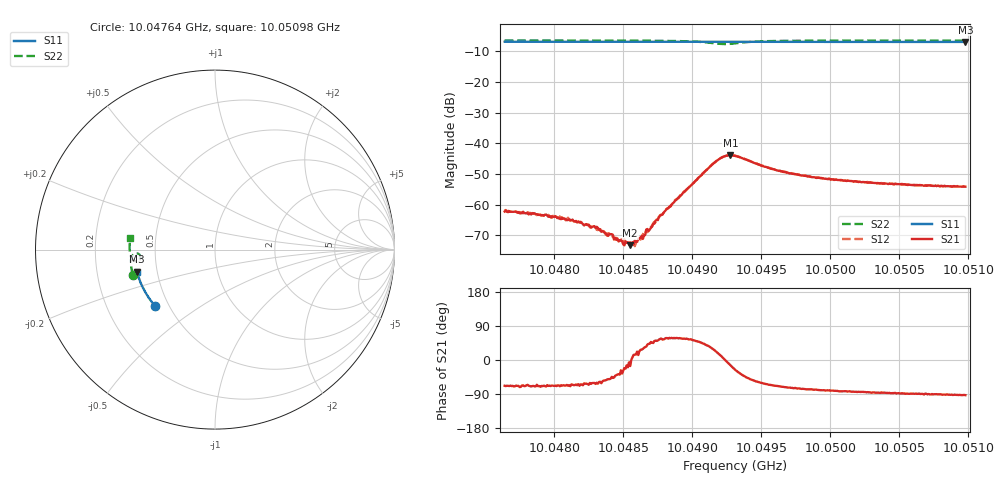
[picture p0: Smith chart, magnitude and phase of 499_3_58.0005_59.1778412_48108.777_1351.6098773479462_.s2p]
#  HZ  S  RI  R  50.00
! Rohde & Schwarz Vector Network Analyzer
! Rohde-Schwarz,ZNB20-2Port,1311601062101988,3.16
! Created: UTC 3/21/2024, 1:12:43 AM
! freq[Hz]  re:S11  im:S11  re:S21  im:S21  re:S12  im:S12  re:S22  im:S22
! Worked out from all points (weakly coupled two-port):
!   401 points, 10.04764 GHz to 10.05098 GHz, reference 50 ohm
!   highest |S21| = -43.89 dB at 10.04928 GHz (marker M1); lowest = -73.3 dB at 10.04855 GHz (marker M2)
!   lowest |S11| = -6.9 dB at 10.05098 GHz (marker M3), VSWR 2.65, Z = 19.2 - j5.9 ohm
!   |S11| at or under -10 dB: nowhere
!   |S22| runs from -7.6 to -6.4 dB; largest |S21 - S12| = 0.00044
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1.004764e10  -0.3334 -0.3139  0.000288 -0.000716  0.000347 -0.000715  -0.4572 -0.1414
1.0047932e10  -0.3458 -0.2992  0.000248 -0.000642  0.000291 -0.000628  -0.4621 -0.1218
1.0048116e10  -0.3533 -0.2897  0.000201 -0.000529  0.000262 -0.000477  -0.4648 -0.1091
1.0048199e10  -0.3567 -0.2854  0.000214 -0.000454  0.000243 -0.00044  -0.4658 -0.103
1.00483e10  -0.3607 -0.28  0.000187 -0.00037  0.000243 -0.000366  -0.4671 -0.0958
1.0048375e10  -0.3636 -0.2761  0.000204 -0.000273  0.000221 -0.000237  -0.4677 -0.0901
1.0048408e10  -0.3649 -0.2743  0.000214 -0.00025  0.000226 -0.000231  -0.4681 -0.0875
1.0048441e10  -0.366 -0.2725  0.000213 -0.000188  0.00023 -0.000168  -0.4684 -0.085
1.0048491e10  -0.368 -0.2698  0.000203 -0.000147  0.000241 -9.63e-05  -0.4685 -0.0812
1.004855e10  -0.3702 -0.2667  0.000207 -5.92e-05  0.000244 -1.04e-05  -0.4691 -0.0763
1.0048575e10  -0.3711 -0.2652  0.000218 5.25e-05  0.000246 3.03e-05  -0.4691 -0.0743
1.00486e10  -0.372 -0.2638  0.000229 9.32e-05  0.000239 7.31e-05  -0.4692 -0.0723
1.0048642e10  -0.3736 -0.2616  0.00024 0.000134  0.000269 0.000183  -0.4692 -0.0689
1.0048758e10  -0.3777 -0.2551  0.000375 0.000512  0.000356 0.000511  -0.4687 -0.058
1.0049151e10  -0.3906 -0.2327  0.00408 0.00223  0.00398 0.00248  -0.4328 -0.0213
1.0049217e10  -0.3925 -0.229  0.00589 0.000757  0.00585 0.00116  -0.4176 -0.0336
1.0049276e10  -0.3942 -0.226  0.0062 -0.00155  0.0063 -0.00115  -0.4181 -0.0524
1.0049309e10  -0.3952 -0.2241  0.00563 -0.0027  0.00584 -0.00231  -0.4247 -0.0603
1.004961e10  -0.4047 -0.2068  0.00137 -0.00337  0.00153 -0.00337  -0.468 -0.0418
1.0049868e10  -0.4116 -0.1911  0.00061 -0.00273  0.000748 -0.00275  -0.4741 -0.0177
1.0050427e10  -0.425 -0.1569  0.000125 -0.00219  0.000243 -0.00217  -0.4754 0.025
1.0050978e10  -0.4352 -0.1225  -9.31e-05 -0.00196  2.51e-05 -0.00197  -0.4719 0.063
